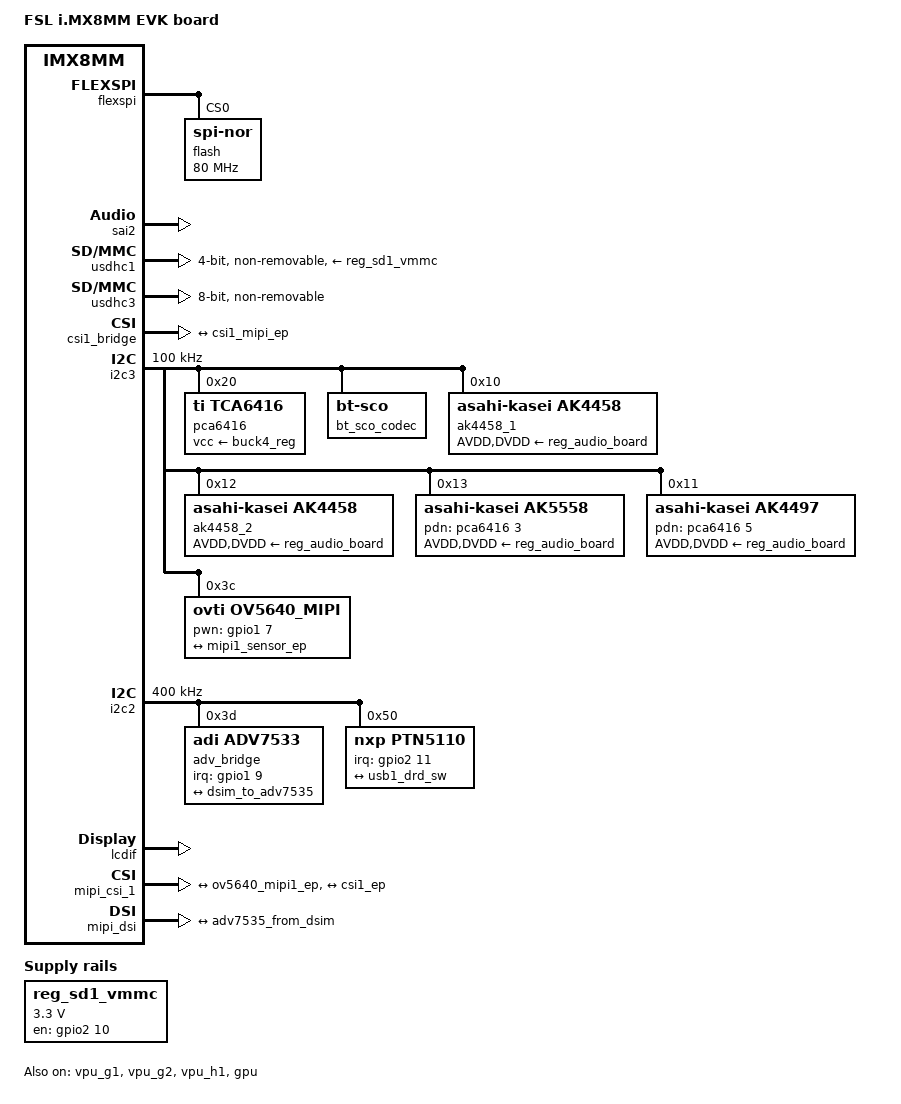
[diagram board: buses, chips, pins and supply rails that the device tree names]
// SPDX-License-Identifier: (GPL-2.0+ OR MIT)
/*
 * Copyright 2019-2020 NXP
 */

/dts-v1/;

#include <dt-bindings/usb/pd.h>
#include "imx8mm-evk.dtsi"

/ {
	model = "FSL i.MX8MM EVK board";
	compatible = "fsl,imx8mm-evk", "fsl,imx8mm";

	reserved-memory {
	#address-cells = <2>;
	#size-cells = <2>;
		ranges;

		rpmsg_reserved: rpmsg@0xb8000000 {
			no-map;
			reg = <0 0xb8000000 0 0x400000>;
		};
	};

	aliases {
		spi0 = &flexspi;
	};

	reg_sd1_vmmc: sd1_regulator {
                compatible = "regulator-fixed";
                regulator-name = "WLAN_EN";
                regulator-min-microvolt = <3300000>;
                regulator-max-microvolt = <3300000>;
                gpio = <&gpio2 10 GPIO_ACTIVE_HIGH>;
		off-on-delay-us = <20000>;
                startup-delay-us = <100>;
                enable-active-high;
        };
};

&ddrc {
	operating-points-v2 = <&ddrc_opp_table>;

	ddrc_opp_table: opp-table {
		compatible = "operating-points-v2";

		opp-25M {
			opp-hz = /bits/ 64 <25000000>;
		};

		opp-100M {
			opp-hz = /bits/ 64 <100000000>;
		};

		opp-750M {
			opp-hz = /bits/ 64 <750000000>;
		};
	};
};

&flexspi {
	pinctrl-names = "default";
	pinctrl-0 = <&pinctrl_flexspi>;
	status = "okay";

	flash@0 {
		reg = <0>;
		#address-cells = <1>;
		#size-cells = <1>;
		compatible = "jedec,spi-nor";
		spi-max-frequency = <80000000>;
		spi-tx-bus-width = <4>;
		spi-rx-bus-width = <4>;
	};
};

&sai2 {
       #sound-dai-cells = <0>;
       pinctrl-names = "default";
       pinctrl-0 = <&pinctrl_sai2>;
       assigned-clocks = <&clk IMX8MM_CLK_SAI2>;
       assigned-clock-parents = <&clk IMX8MM_AUDIO_PLL1_OUT>;
       assigned-clock-rates = <24576000>;
       status = "okay";
};

&usdhc1 {
	pinctrl-names = "default", "state_100mhz", "state_200mhz";
	pinctrl-0 = <&pinctrl_usdhc1>, <&pinctrl_usdhc1_gpio>;
	pinctrl-1 = <&pinctrl_usdhc1_100mhz>, <&pinctrl_usdhc1_gpio>;
	pinctrl-2 = <&pinctrl_usdhc1_200mhz>, <&pinctrl_usdhc1_gpio>;
	bus-width = <4>;
	vmmc-supply = <&reg_sd1_vmmc>;
	pm-ignore-notify;
	keep-power-in-suspend;
	non-removable;
	status = "okay";
};

&usdhc3 {
	assigned-clocks = <&clk IMX8MM_CLK_USDHC3_ROOT>;
	assigned-clock-rates = <400000000>;
	pinctrl-names = "default", "state_100mhz", "state_200mhz";
	pinctrl-0 = <&pinctrl_usdhc3>;
	pinctrl-1 = <&pinctrl_usdhc3_100mhz>;
	pinctrl-2 = <&pinctrl_usdhc3_200mhz>;
	bus-width = <8>;
	non-removable;
	status = "okay";
};

&csi1_bridge {
        fsl,mipi-mode;
        status = "okay";
        port {
                csi1_ep: endpoint {
                        remote-endpoint = <&csi1_mipi_ep>;
                };
        };
};

&i2c3 {
        clock-frequency = <100000>;
        pinctrl-names = "default";
        pinctrl-0 = <&pinctrl_i2c3>;
        status = "okay";

        pca6416: gpio@20 {
                compatible = "ti,tca6416";
                reg = <0x20>;
                gpio-controller;
                #gpio-cells = <2>;
                vcc-supply = <&buck4_reg>;
        };

	bt_sco_codec: bt_sco_codec {
                #sound-dai-cells = <0>;
                compatible = "linux,bt-sco";
        };

        sound-bt-sco {
                compatible = "simple-audio-card";
                simple-audio-card,name = "bt-sco-audio";
                simple-audio-card,format = "i2s";
                simple-audio-card,bitclock-inversion;
                simple-audio-card,frame-master = <&btcpu>;
                simple-audio-card,bitclock-master = <&btcpu>;

                btcpu: simple-audio-card,cpu {
                        sound-dai = <&sai2>;
                        dai-tdm-slot-num = <2>;
                        dai-tdm-slot-width = <16>;
                };

                simple-audio-card,codec {
                        sound-dai = <&bt_sco_codec>;
                };
        };

	sound-wm8524 {
                compatible = "simple-audio-card";
                simple-audio-card,name = "wm8524-audio";
                simple-audio-card,format = "i2s";
                simple-audio-card,frame-master = <&cpudai>;
                simple-audio-card,bitclock-master = <&cpudai>;
                simple-audio-card,widgets =
                        "Line", "Left Line Out Jack",
                        "Line", "Right Line Out Jack";
                simple-audio-card,routing =
                        "Left Line Out Jack", "LINEVOUTL",
                        "Right Line Out Jack", "LINEVOUTR";

                cpudai: simple-audio-card,cpu {
                        sound-dai = <&sai3>;
                        dai-tdm-slot-num = <2>;
                        dai-tdm-slot-width = <32>;
                };

                simple-audio-card,codec {
                        sound-dai = <&wm8524>;
                        clocks = <&clk IMX8MM_CLK_SAI3_ROOT>;
                };
        };

        ak4458_1: ak4458@10 {
                compatible = "asahi-kasei,ak4458";
                reg = <0x10>;
                AVDD-supply = <&reg_audio_board>;
                DVDD-supply = <&reg_audio_board>;
        };

        ak4458_2: ak4458@12 {
                compatible = "asahi-kasei,ak4458";
                reg = <0x12>;
                AVDD-supply = <&reg_audio_board>;
                DVDD-supply = <&reg_audio_board>;
        };

        ak5558: ak5558@13 {
                compatible = "asahi-kasei,ak5558";
                reg = <0x13>;
                ak5558,pdn-gpio = <&pca6416 3 GPIO_ACTIVE_HIGH>;
                AVDD-supply = <&reg_audio_board>;
                DVDD-supply = <&reg_audio_board>;
        };

        ak4497: ak4497@11 {
                compatible = "asahi-kasei,ak4497";
                reg = <0x11>;
                ak4497,pdn-gpio = <&pca6416 5 GPIO_ACTIVE_HIGH>;
                AVDD-supply = <&reg_audio_board>;
                DVDD-supply = <&reg_audio_board>;
        };

	ov5640_mipi: ov5640_mipi@3c {
                compatible = "ovti,ov5640_mipi";
                reg = <0x3c>;
                status = "okay";
                pinctrl-names = "default";
                pinctrl-0 = <&pinctrl_csi_pwn>, <&pinctrl_csi_rst>;
                clocks = <&clk IMX8MM_CLK_CLKO1>;
                clock-names = "csi_mclk";
                assigned-clocks = <&clk IMX8MM_CLK_CLKO1>;
                assigned-clock-parents = <&clk IMX8MM_CLK_24M>;
                assigned-clock-rates = <24000000>;
                csi_id = <0>;
                pwn-gpios = <&gpio1 7 GPIO_ACTIVE_HIGH>;
                mclk = <24000000>;
                mclk_source = <0>;
                port {
                        ov5640_mipi1_ep: endpoint {
                                remote-endpoint = <&mipi1_sensor_ep>;
                        };
                };
        };
};

&iomuxc {
	pinctrl_sai2: sai2grp {
		fsl,pins = <
			MX8MM_IOMUXC_SAI2_TXC_SAI2_TX_BCLK      0xd6
			MX8MM_IOMUXC_SAI2_TXFS_SAI2_TX_SYNC     0xd6
			MX8MM_IOMUXC_SAI2_TXD0_SAI2_TX_DATA0    0xd6
			MX8MM_IOMUXC_SAI2_RXD0_SAI2_RX_DATA0    0xd6
		>;
	};

	pinctrl_csi_pwn: csi_pwn_grp {
                fsl,pins = <
                        MX8MM_IOMUXC_GPIO1_IO07_GPIO1_IO7               0x19
                >;
        };

        pinctrl_csi_rst: csi_rst_grp {
                fsl,pins = <
                        MX8MM_IOMUXC_GPIO1_IO06_GPIO1_IO6               0x19
                        MX8MM_IOMUXC_GPIO1_IO14_CCMSRCGPCMIX_CLKO1      0x59
                >;
        };

	pinctrl_flexspi: flexspigrp {
		fsl,pins = <
			MX8MM_IOMUXC_NAND_ALE_QSPI_A_SCLK               0x1c2
			MX8MM_IOMUXC_NAND_CE0_B_QSPI_A_SS0_B            0x82
			MX8MM_IOMUXC_NAND_DATA00_QSPI_A_DATA0           0x82
			MX8MM_IOMUXC_NAND_DATA01_QSPI_A_DATA1           0x82
			MX8MM_IOMUXC_NAND_DATA02_QSPI_A_DATA2           0x82
			MX8MM_IOMUXC_NAND_DATA03_QSPI_A_DATA3           0x82
		>;
	};

	pinctrl_i2c2: i2c2grp {
                fsl,pins = <
                        MX8MM_IOMUXC_I2C2_SCL_I2C2_SCL                  0x400001c3
                        MX8MM_IOMUXC_I2C2_SDA_I2C2_SDA                  0x400001c3
                >;
        };
	
	pinctrl_mipi_dsi_en: mipi_dsi_en {
                fsl,pins = <
                        MX8MM_IOMUXC_GPIO1_IO08_GPIO1_IO8               0x16
                >;
        };

	pinctrl_i2c2_synaptics_dsx_io: synaptics_dsx_iogrp {
                fsl,pins = <
                        MX8MM_IOMUXC_GPIO1_IO09_GPIO1_IO9               0x19    /* Touch int */
                >;
        };

	pinctrl_usdhc1_gpio: usdhc1grpgpio {
                fsl,pins = <
                        MX8MM_IOMUXC_SD1_RESET_B_GPIO2_IO10     0x41
                >;
        };

        pinctrl_usdhc1: usdhc1grp {
                fsl,pins = <
                        MX8MM_IOMUXC_SD1_CLK_USDHC1_CLK         0x190
                        MX8MM_IOMUXC_SD1_CMD_USDHC1_CMD         0x1d0
                        MX8MM_IOMUXC_SD1_DATA0_USDHC1_DATA0     0x1d0
                        MX8MM_IOMUXC_SD1_DATA1_USDHC1_DATA1     0x1d0
                        MX8MM_IOMUXC_SD1_DATA2_USDHC1_DATA2     0x1d0
                        MX8MM_IOMUXC_SD1_DATA3_USDHC1_DATA3     0x1d0
                >;
        };

        pinctrl_usdhc1_100mhz: usdhc1grp100mhz {
                fsl,pins = <
                        MX8MM_IOMUXC_SD1_CLK_USDHC1_CLK         0x194
                        MX8MM_IOMUXC_SD1_CMD_USDHC1_CMD         0x1d4
                        MX8MM_IOMUXC_SD1_DATA0_USDHC1_DATA0     0x1d4
                        MX8MM_IOMUXC_SD1_DATA1_USDHC1_DATA1     0x1d4
                        MX8MM_IOMUXC_SD1_DATA2_USDHC1_DATA2     0x1d4
                        MX8MM_IOMUXC_SD1_DATA3_USDHC1_DATA3     0x1d4
                >;
        };

        pinctrl_usdhc1_200mhz: usdhc1grp200mhz {
                fsl,pins = <
                        MX8MM_IOMUXC_SD1_CLK_USDHC1_CLK         0x196
                        MX8MM_IOMUXC_SD1_CMD_USDHC1_CMD         0x1d6
                        MX8MM_IOMUXC_SD1_DATA0_USDHC1_DATA0     0x1d6
                        MX8MM_IOMUXC_SD1_DATA1_USDHC1_DATA1     0x1d6
                        MX8MM_IOMUXC_SD1_DATA2_USDHC1_DATA2     0x1d6
                        MX8MM_IOMUXC_SD1_DATA3_USDHC1_DATA3     0x1d6
                >;
        };

	pinctrl_usdhc3: usdhc3grp {
		fsl,pins = <
			MX8MM_IOMUXC_NAND_WE_B_USDHC3_CLK               0x190
			MX8MM_IOMUXC_NAND_WP_B_USDHC3_CMD               0x1d0
			MX8MM_IOMUXC_NAND_DATA04_USDHC3_DATA0           0x1d0
			MX8MM_IOMUXC_NAND_DATA05_USDHC3_DATA1           0x1d0
			MX8MM_IOMUXC_NAND_DATA06_USDHC3_DATA2           0x1d0
			MX8MM_IOMUXC_NAND_DATA06_USDHC3_DATA2           0x1d0
			MX8MM_IOMUXC_NAND_DATA07_USDHC3_DATA3           0x1d0
			MX8MM_IOMUXC_NAND_RE_B_USDHC3_DATA4             0x1d0
			MX8MM_IOMUXC_NAND_CE2_B_USDHC3_DATA5            0x1d0
			MX8MM_IOMUXC_NAND_CE3_B_USDHC3_DATA6            0x1d0
			MX8MM_IOMUXC_NAND_CLE_USDHC3_DATA7              0x1d0
			MX8MM_IOMUXC_NAND_CE1_B_USDHC3_STROBE           0x190
		>;
	};

	pinctrl_usdhc3_100mhz: usdhc3-100mhzgrp {
		fsl,pins = <
			MX8MM_IOMUXC_NAND_WE_B_USDHC3_CLK               0x194
			MX8MM_IOMUXC_NAND_WP_B_USDHC3_CMD               0x1d4
			MX8MM_IOMUXC_NAND_DATA04_USDHC3_DATA0           0x1d4
			MX8MM_IOMUXC_NAND_DATA05_USDHC3_DATA1           0x1d4
			MX8MM_IOMUXC_NAND_DATA06_USDHC3_DATA2           0x1d4
			MX8MM_IOMUXC_NAND_DATA07_USDHC3_DATA3           0x1d4
			MX8MM_IOMUXC_NAND_RE_B_USDHC3_DATA4             0x1d4
			MX8MM_IOMUXC_NAND_CE2_B_USDHC3_DATA5            0x1d4
			MX8MM_IOMUXC_NAND_CE3_B_USDHC3_DATA6            0x1d4
			MX8MM_IOMUXC_NAND_CLE_USDHC3_DATA7              0x1d4
			MX8MM_IOMUXC_NAND_CE1_B_USDHC3_STROBE           0x194
		>;
	};

	pinctrl_usdhc3_200mhz: usdhc3-200mhzgrp {
		fsl,pins = <
			MX8MM_IOMUXC_NAND_WE_B_USDHC3_CLK               0x196
			MX8MM_IOMUXC_NAND_WP_B_USDHC3_CMD               0x1d6
			MX8MM_IOMUXC_NAND_DATA04_USDHC3_DATA0           0x1d6
			MX8MM_IOMUXC_NAND_DATA05_USDHC3_DATA1           0x1d6
			MX8MM_IOMUXC_NAND_DATA06_USDHC3_DATA2           0x1d6
			MX8MM_IOMUXC_NAND_DATA07_USDHC3_DATA3           0x1d6
			MX8MM_IOMUXC_NAND_RE_B_USDHC3_DATA4             0x1d6
			MX8MM_IOMUXC_NAND_CE2_B_USDHC3_DATA5            0x1d6
			MX8MM_IOMUXC_NAND_CE3_B_USDHC3_DATA6            0x1d6
			MX8MM_IOMUXC_NAND_CLE_USDHC3_DATA7              0x1d6
			MX8MM_IOMUXC_NAND_CE1_B_USDHC3_STROBE           0x196
		>;
	};
};

&i2c2 {
        clock-frequency = <400000>;
        pinctrl-names = "default";
        pinctrl-0 = <&pinctrl_i2c2>;
        status = "okay";

        adv_bridge: adv7535@3d {
                compatible = "adi,adv7533";
                reg = <0x3d>;
                adi,addr-cec = <0x3b>;
                adi,dsi-lanes = <4>;
                pinctrl-names = "default";
                pinctrl-0 = <&pinctrl_i2c2_synaptics_dsx_io>;
                interrupt-parent = <&gpio1>;
                interrupts = <9 IRQ_TYPE_LEVEL_LOW>;
                status = "okay";

                port {
                        adv7535_from_dsim: endpoint {
                                remote-endpoint = <&dsim_to_adv7535>;
                        };
                };
        };

        ptn5110: tcpc@50 {
                compatible = "nxp,ptn5110";
                pinctrl-names = "default";
                pinctrl-0 = <&pinctrl_typec1>;
                reg = <0x50>;
                interrupt-parent = <&gpio2>;
                interrupts = <11 8>;
                status = "okay";

                port {
                        typec1_dr_sw: endpoint {
                                remote-endpoint = <&usb1_drd_sw>;
                        };
                };

                typec1_con: connector {
                        compatible = "usb-c-connector";
                        label = "USB-C";
                        power-role = "dual";
                        data-role = "dual";
                        try-power-role = "sink";
                        source-pdos = <PDO_FIXED(5000, 3000, PDO_FIXED_USB_COMM)>;
                        sink-pdos = <PDO_FIXED(5000, 3000, PDO_FIXED_USB_COMM)
                                     PDO_VAR(5000, 20000, 3000)>;
                        op-sink-microwatt = <15000000>;
                        self-powered;
                };
        };
};

&lcdif {
	status = "okay";
};

&mipi_csi_1 {
	#address-cells = <1>;
	#size-cells = <0>;
	status = "okay";
	port {
		mipi1_sensor_ep: endpoint@1 {
			remote-endpoint = <&ov5640_mipi1_ep>;
			data-lanes = <2>;
			csis-hs-settle = <13>;
			csis-clk-settle = <2>;
			csis-wclk;
		};

		csi1_mipi_ep: endpoint@2 {
			remote-endpoint = <&csi1_ep>;
		};
	};
};

&mipi_dsi {
	status = "okay";

	port@1 {
		dsim_to_adv7535: endpoint {
			remote-endpoint = <&adv7535_from_dsim>;
			attach-bridge;
		};
	};
};

&vpu_g1 {
	status = "okay";
};

&vpu_g2 {
	status = "okay";
};

&vpu_h1 {
	status = "okay";
};

&gpu {
	status = "okay";
};
